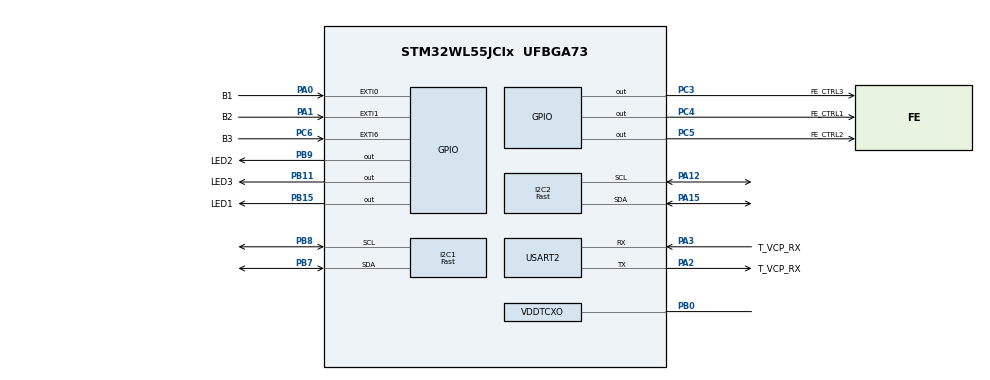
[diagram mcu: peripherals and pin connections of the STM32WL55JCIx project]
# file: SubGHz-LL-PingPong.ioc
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I2C1.I2C_Speed_Mode=I2C_Fast
I2C1.Timing=0x2010091A
I2C2.I2C_Speed_Mode=I2C_Fast
I2C2.Timing=0x2010091A
Mcu.Family=STM32WL
Mcu.Name=STM32WL55JCIx
Mcu.Package=UFBGA73
NVIC.PriorityGroup=NVIC_PRIORITYGROUP_4
NVIC.SUBGHZ_Radio_IRQn=true\:0\:0\:false\:false\:true\:true\:true\:true
OSC_IN.Mode=HSE-TCXO
OSC_IN.Signal=RCC_OSC_IN
PA0.GPIO_Label=B1
PA0.GPIO_ModeDefaultEXTI=GPIO_MODE_IT_FALLING
PA0.GPIO_PuPd=GPIO_PULLUP
PA0.Signal=GPXTI0
PA1.GPIO_Label=B2
PA1.GPIO_ModeDefaultEXTI=GPIO_MODE_IT_FALLING
PA1.GPIO_PuPd=GPIO_PULLUP
PA1.Signal=GPXTI1
PA12.Mode=I2C
PA12.Signal=I2C2_SCL
PA13.Mode=Serial_Wire
PA13.Signal=DEBUG_JTMS-SWDIO
PA14.Mode=Serial_Wire
PA14.Signal=DEBUG_JTCK-SWCLK
PA15.Mode=I2C
PA15.Signal=I2C2_SDA
PA2.GPIO_Label=T_VCP_RX
PA2.Mode=Asynchronous
PA2.Signal=USART2_TX
PA3.GPIO_Label=T_VCP_RX
PA3.Mode=Asynchronous
PA3.Signal=USART2_RX
PB0-VDD_TCXO.Mode=HSE-TCXO
PB0-VDD_TCXO.Signal=VDDTCXO
PB11.GPIO_Label=LED3
PB11.GPIO_Speed=GPIO_SPEED_FREQ_HIGH
PB11.Signal=GPIO_Output
PB15.GPIO_Label=LED1
PB15.GPIO_Speed=GPIO_SPEED_FREQ_HIGH
PB15.Signal=GPIO_Output
PB7.Mode=I2C
PB7.Signal=I2C1_SDA
PB8.Mode=I2C
PB8.Signal=I2C1_SCL
PB9.GPIO_FM9=__NULL
PB9.GPIO_Label=LED2
PB9.GPIO_Speed=GPIO_SPEED_FREQ_HIGH
PB9.Signal=GPIO_Output
PC14-OSC32_IN.Mode=LSE-External-Oscillator
PC14-OSC32_IN.Signal=RCC_OSC32_IN
PC15-OSC32_OUT.Mode=LSE-External-Oscillator
PC15-OSC32_OUT.Signal=RCC_OSC32_OUT
PC3.GPIO_Label=FE_CTRL3
PC3.GPIO_Speed=GPIO_SPEED_FREQ_VERY_HIGH
PC3.Signal=GPIO_Output
PC4.GPIO_Label=FE_CTRL1
PC4.GPIO_Speed=GPIO_SPEED_FREQ_VERY_HIGH
PC4.Signal=GPIO_Output
PC5.GPIO_Label=FE_CTRL2
PC5.GPIO_Speed=GPIO_SPEED_FREQ_VERY_HIGH
PC5.Signal=GPIO_Output
PC6.GPIO_Label=B3
PC6.GPIO_ModeDefaultEXTI=GPIO_MODE_IT_FALLING
PC6.GPIO_PuPd=GPIO_PULLUP
PC6.Signal=GPXTI6
ProjectManager.HeapSize=0x200
ProjectManager.StackSize=0x400
ProjectManager.TargetToolchain=STM32CubeIDE
RCC.AHBFreq_Value=48000000
RCC.APB1Freq_Value=48000000
RCC.APB1TimFreq_Value=48000000
RCC.APB2Freq_Value=48000000
RCC.APB2TimFreq_Value=48000000
RCC.APB3Freq_Value=48000000
RCC.CortexFreq_Value=48000000
RCC.HCLKFreq_Value=48000000
RCC.HSE_VALUE=32000000
RCC.HSI_VALUE=16000000
RCC.LSE_VALUE=32768
RCC.MSIClockRange=RCC_MSIRANGE_11
RCC.SYSCLKFreq_VALUE=48000000
RCC.VCOOutputFreq_Value=384000000
SUBGHZ.BaudratePrescaler=SUBGHZSPI_BAUDRATEPRESCALER_4
USART2.VirtualMode-Asynchronous=VM_ASYNC
VP_SUBGHZ_VS_SUBGHZ.Mode=SUBGHZ_Activate
board=NUCLEO-WL55JC1

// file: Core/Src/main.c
/* USER CODE BEGIN Header */

// References:
// https://forum.digikey.com/t/using-the-low-level-sub-ghz-radio-driver-for-the-stm32wl-series/18253
// https://github.com/eewiki/stm32wl_radioDriver_pingPong/tree/main

/**
  ******************************************************************************
  * @file           : main.c
  * @brief          : Main program body
  ******************************************************************************
  * @attention
  *
  * <h2><center>&copy; Copyright (c) 2021 STMicroelectronics.
  * All rights reserved.</center></h2>
  *
  * This software component is licensed by ST under BSD 3-Clause license,
  * the "License"; You may not use this file except in compliance with the
  * License. You may obtain a copy of the License at:
  *                        opensource.org/licenses/BSD-3-Clause
  *
  ******************************************************************************
  */
/* USER CODE END Header */
#include "main.h"
#include "i2c.h"
#include "subghz.h"
#include "usart.h"
#include "gpio.h"

/* USER CODE BEGIN Includes */
#include <string.h>
#include <stdio.h>
#include "radio_driver.h"
#include "stm32wlxx_nucleo.h"
/* USER CODE END Includes */

/* USER CODE BEGIN PTD */

typedef enum
{
  STATE_NULL,
  STATE_MASTER,
  STATE_SLAVE
} state_t;

typedef enum
{
  SSTATE_NULL,
  SSTATE_RX,
  SSTATE_TX
} substate_t;

typedef struct
{
  state_t state;
  substate_t subState;
  uint32_t rxTimeout;
  uint32_t rxMargin;
  uint32_t randomDelay;
  char rxBuffer[RX_BUFFER_SIZE];
  uint8_t rxSize;
} pingPongFSM_t;

/* USER CODE END PTD */

/* USER CODE BEGIN PM */
#define RF_FREQUENCY                                915000000	// 915 MHz
#define TX_OUTPUT_POWER                             14        	// dBm
#define LORA_BANDWIDTH                              2       	// Maps to const RadioLoRaBandwidths_t Bandwidths; 500 kHz
#define LORA_SPREADING_FACTOR                       11			// SF
#define LORA_CODINGRATE                             1			// 4/5
#define LORA_PREAMBLE_LENGTH                        8         	/* Same for Tx and Rx */
#define LORA_SYMBOL_TIMEOUT                         5         	/* Symbols */

/* USER CODE END PM */

/* USER CODE BEGIN PV */
void (*volatile eventReceptor)(pingPongFSM_t *const fsm);
PacketParams_t packetParams;  // TODO: this is lazy

const RadioLoRaBandwidths_t Bandwidths[] = { LORA_BW_125, LORA_BW_250, LORA_BW_500 };
/* USER CODE END PV */

void SystemClock_Config(void);
/* USER CODE BEGIN PFP */
void radioInit(void);
void RadioOnDioIrq(RadioIrqMasks_t radioIrq);
void eventTxDone(pingPongFSM_t *const fsm);
void eventRxDone(pingPongFSM_t *const fsm);
void eventTxTimeout(pingPongFSM_t *const fsm);
void eventRxTimeout(pingPongFSM_t *const fsm);
void eventRxError(pingPongFSM_t *const fsm);
void enterMasterRx(pingPongFSM_t *const fsm);
void enterSlaveRx(pingPongFSM_t *const fsm);
void enterMasterTx(pingPongFSM_t *const fsm);
void enterSlaveTx(pingPongFSM_t *const fsm);
void transitionRxDone(pingPongFSM_t *const fsm);
/* USER CODE END PFP */

int main(void)
{
  /* USER CODE BEGIN 1 */

  pingPongFSM_t fsm;
  char uartBuff[100];

  /* USER CODE END 1 */

  /* MCU Configuration--------------------------------------------------------*/

  /* Reset of all peripherals, Initializes the Flash interface and the Systick. */
  HAL_Init();

  /* Configure the system clock */
  SystemClock_Config();

  /* USER CODE BEGIN SysInit */

  /*** GPIO Configuration (for debugging) ***/
  /* DEBUG_SUBGHZSPI_NSSOUT = PA4
   * DEBUG_SUBGHZSPI_SCKOUT = PA5
   * DEBUG_SUBGHZSPI_MISOOUT = PA6
   * DEBUG_SUBGHZSPI_MOSIOUT = PA7
   * DEBUG_RF_HSE32RDY = PA10
   * DEBUG_RF_NRESET = PA11
   * DEBUG_RF_SMPSRDY = PB2
   * DEBUG_RF_DTB1 = PB3 <---- Conflicts with RF_IRQ0
   * DEBUG_RF_LDORDY = PB4
   * RF_BUSY = PA12
   * RF_IRQ0 = PB3
   * RF_IRQ1 = PB5
   * RF_IRQ2 = PB8
   */

  GPIO_InitTypeDef GPIO_InitStruct = {0};

  // Enable GPIO Clocks
  __HAL_RCC_GPIOA_CLK_ENABLE();
  __HAL_RCC_GPIOB_CLK_ENABLE();

  // DEBUG_SUBGHZSPI_{NSSOUT, SCKOUT, MSIOOUT, MOSIOUT} pins
  GPIO_InitStruct.Pin = GPIO_PIN_4 | GPIO_PIN_5 | GPIO_PIN_6 | GPIO_PIN_7;
  GPIO_InitStruct.Mode = GPIO_MODE_AF_PP;
  GPIO_InitStruct.Pull = GPIO_NOPULL;
  GPIO_InitStruct.Speed = GPIO_SPEED_FREQ_VERY_HIGH;
  GPIO_InitStruct.Alternate = GPIO_AF13_DEBUG_SUBGHZSPI;
  HAL_GPIO_Init(GPIOA, &GPIO_InitStruct);

  // DEBUG_RF_{HSE32RDY, NRESET} pins
  GPIO_InitStruct.Pin = GPIO_PIN_10 | GPIO_PIN_11;
  GPIO_InitStruct.Alternate = GPIO_AF13_DEBUG_RF;
  HAL_GPIO_Init(GPIOA, &GPIO_InitStruct);

  // DEBUG_RF_{SMPSRDY, LDORDY} pins
  GPIO_InitStruct.Pin = GPIO_PIN_2 | GPIO_PIN_4;
  HAL_GPIO_Init(GPIOB, &GPIO_InitStruct);

  // RF_BUSY pin
  GPIO_InitStruct.Pin = GPIO_PIN_12;
  GPIO_InitStruct.Alternate = GPIO_AF6_RF_BUSY;
  HAL_GPIO_Init(GPIOA, &GPIO_InitStruct);

  // RF_{IRQ0, IRQ1, IRQ2} pins
  GPIO_InitStruct.Pin = GPIO_PIN_3 | GPIO_PIN_5 | GPIO_PIN_8;
  HAL_GPIO_Init(GPIOB, &GPIO_InitStruct);

  /* USER CODE END SysInit */

  /* Initialize all configured peripherals */
  MX_GPIO_Init();
  MX_USART2_UART_Init();
  MX_SUBGHZ_Init();
  MX_I2C1_Init();
  MX_I2C2_Init();
  /* USER CODE BEGIN 2 */

  strcpy(uartBuff, "\n\rPING PONG\r\nAPP_VERSION=0.0.1\r\n---------------\r\n");
  HAL_UART_Transmit(&huart2, (uint8_t *)uartBuff, strlen(uartBuff), HAL_MAX_DELAY);
  sprintf(uartBuff, "LORA_MODULATION\r\nLORA_BW=%d Hz\r\nLORA_SF=%d\r\n", (1 << LORA_BANDWIDTH) * 125, LORA_SPREADING_FACTOR);
  HAL_UART_Transmit(&huart2, (uint8_t *)uartBuff, strlen(uartBuff), HAL_MAX_DELAY);
  radioInit();

  /* USER CODE END 2 */

  /* Infinite loop */
  /* USER CODE BEGIN WHILE */

  // get random number
  uint32_t rnd = 0;
  SUBGRF_SetDioIrqParams(IRQ_RADIO_NONE, IRQ_RADIO_NONE, IRQ_RADIO_NONE, IRQ_RADIO_NONE);
  rnd = SUBGRF_GetRandom();

  fsm.state = STATE_NULL;
  fsm.subState = SSTATE_NULL;
  fsm.rxTimeout = 3000; // 3000 ms
  fsm.rxMargin = 200;   // 200 ms
  fsm.randomDelay = rnd >> 22; // [0, 1023] ms
  sprintf(uartBuff, "rand=%lu\r\n", fsm.randomDelay);
  HAL_UART_Transmit(&huart2, (uint8_t *)uartBuff, strlen(uartBuff), HAL_MAX_DELAY);

  HAL_Delay(fsm.randomDelay);
  SUBGRF_SetDioIrqParams( IRQ_RX_DONE | IRQ_RX_TX_TIMEOUT | IRQ_CRC_ERROR,
                          IRQ_RX_DONE | IRQ_RX_TX_TIMEOUT | IRQ_CRC_ERROR,
                          IRQ_RADIO_NONE,
                          IRQ_RADIO_NONE );
  SUBGRF_SetSwitch(RFO_LP, RFSWITCH_RX);
  SUBGRF_SetRx(fsm.rxTimeout << 6);
  fsm.state = STATE_MASTER;
  fsm.subState = SSTATE_RX;

  while (1)
  {
    /* USER CODE END WHILE */

    /* USER CODE BEGIN 3 */

//    eventReceptor = NULL;
//    while (eventReceptor == NULL);
//    eventReceptor(&fsm);

	  if (eventReceptor != NULL)
	  {
		  BSP_LED_On(LED_GREEN);

		  eventReceptor(&fsm);
		  eventReceptor = NULL;

		  BSP_LED_Off(LED_GREEN);
	  }

    BSP_LED_Toggle(LED_BLUE);
    HAL_Delay(250);
  }
  /* USER CODE END 3 */
}

void SystemClock_Config(void)
{
  RCC_OscInitTypeDef RCC_OscInitStruct = {0};
  RCC_ClkInitTypeDef RCC_ClkInitStruct = {0};

  /** Configure LSE Drive Capability
  */
  HAL_PWR_EnableBkUpAccess();
  __HAL_RCC_LSEDRIVE_CONFIG(RCC_LSEDRIVE_LOW);

  /** Configure the main internal regulator output voltage
  */
  __HAL_PWR_VOLTAGESCALING_CONFIG(PWR_REGULATOR_VOLTAGE_SCALE1);

  /** Initializes the CPU, AHB and APB buses clocks
  */
  RCC_OscInitStruct.OscillatorType = RCC_OSCILLATORTYPE_LSE|RCC_OSCILLATORTYPE_MSI;
  RCC_OscInitStruct.LSEState = RCC_LSE_ON;
  RCC_OscInitStruct.MSIState = RCC_MSI_ON;
  RCC_OscInitStruct.MSICalibrationValue = RCC_MSICALIBRATION_DEFAULT;
  RCC_OscInitStruct.MSIClockRange = RCC_MSIRANGE_11;
  RCC_OscInitStruct.PLL.PLLState = RCC_PLL_NONE;
  if (HAL_RCC_OscConfig(&RCC_OscInitStruct) != HAL_OK)
  {
    Error_Handler();
  }

  /** Configure the SYSCLKSource, HCLK, PCLK1 and PCLK2 clocks dividers
  */
  RCC_ClkInitStruct.ClockType = RCC_CLOCKTYPE_HCLK3|RCC_CLOCKTYPE_HCLK
                              |RCC_CLOCKTYPE_SYSCLK|RCC_CLOCKTYPE_PCLK1
                              |RCC_CLOCKTYPE_PCLK2;
  RCC_ClkInitStruct.SYSCLKSource = RCC_SYSCLKSOURCE_MSI;
  RCC_ClkInitStruct.AHBCLKDivider = RCC_SYSCLK_DIV1;
  RCC_ClkInitStruct.APB1CLKDivider = RCC_HCLK_DIV1;
  RCC_ClkInitStruct.APB2CLKDivider = RCC_HCLK_DIV1;
  RCC_ClkInitStruct.AHBCLK3Divider = RCC_SYSCLK_DIV1;

  if (HAL_RCC_ClockConfig(&RCC_ClkInitStruct, FLASH_LATENCY_2) != HAL_OK)
  {
    Error_Handler();
  }
}

/* USER CODE BEGIN 4 */

/**
  * @brief  Initialize the Sub-GHz radio and dependent hardware.
  * @retval None
  */
void radioInit(void)
{
  // Initialize the hardware (SPI bus, TCXO control, RF switch)
  SUBGRF_Init(RadioOnDioIrq);

  // Use DCDC converter if `DCDC_ENABLE` is defined in radio_conf.h
  // "By default, the SMPS clock detection is disabled and must be enabled before enabling the SMPS." (6.1 in RM0453)
  SUBGRF_WriteRegister(SUBGHZ_SMPSC0R, (SUBGRF_ReadRegister(SUBGHZ_SMPSC0R) | SMPS_CLK_DET_ENABLE));
  SUBGRF_SetRegulatorMode();

  // Use the whole 256-byte buffer for both TX and RX
  SUBGRF_SetBufferBaseAddress(0x00, 0x00);

  SUBGRF_SetRfFrequency(RF_FREQUENCY);
  SUBGRF_SetRfTxPower(TX_OUTPUT_POWER);
  SUBGRF_SetStopRxTimerOnPreambleDetect(false);

  SUBGRF_SetPacketType(PACKET_TYPE_LORA);

  SUBGRF_WriteRegister( REG_LR_SYNCWORD, ( LORA_MAC_PRIVATE_SYNCWORD >> 8 ) & 0xFF );
  SUBGRF_WriteRegister( REG_LR_SYNCWORD + 1, LORA_MAC_PRIVATE_SYNCWORD & 0xFF );

  ModulationParams_t modulationParams;
  modulationParams.PacketType = PACKET_TYPE_LORA;
  modulationParams.Params.LoRa.Bandwidth = Bandwidths[LORA_BANDWIDTH];
  modulationParams.Params.LoRa.CodingRate = (RadioLoRaCodingRates_t)LORA_CODINGRATE;
  modulationParams.Params.LoRa.LowDatarateOptimize = 0x00;
  modulationParams.Params.LoRa.SpreadingFactor = (RadioLoRaSpreadingFactors_t)LORA_SPREADING_FACTOR;
  SUBGRF_SetModulationParams(&modulationParams);

  packetParams.PacketType = PACKET_TYPE_LORA;
  packetParams.Params.LoRa.CrcMode = LORA_CRC_ON;
  packetParams.Params.LoRa.HeaderType = LORA_PACKET_VARIABLE_LENGTH;
  packetParams.Params.LoRa.InvertIQ = LORA_IQ_NORMAL;
  packetParams.Params.LoRa.PayloadLength = 0xFF;
  packetParams.Params.LoRa.PreambleLength = LORA_PREAMBLE_LENGTH;
  SUBGRF_SetPacketParams(&packetParams);

  //SUBGRF_SetLoRaSymbNumTimeout(LORA_SYMBOL_TIMEOUT);

  // WORKAROUND - Optimizing the Inverted IQ Operation, see DS_SX1261-2_V1.2 datasheet chapter 15.4
  // RegIqPolaritySetup @address 0x0736
  SUBGRF_WriteRegister( 0x0736, SUBGRF_ReadRegister( 0x0736 ) | ( 1 << 2 ) );
}

/**
  * @brief  Receive data trough SUBGHZSPI peripheral
  * @param  radioIrq  interrupt pending status information
  * @retval None
  */
void RadioOnDioIrq(RadioIrqMasks_t radioIrq)
{
  switch (radioIrq)
  {
    case IRQ_TX_DONE:
      eventReceptor = eventTxDone;
      break;
    case IRQ_RX_DONE:
      eventReceptor = eventRxDone;
      break;
    case IRQ_RX_TX_TIMEOUT:
      if (SUBGRF_GetOperatingMode() == MODE_TX)
      {
        eventReceptor = eventTxTimeout;
      }
      else if (SUBGRF_GetOperatingMode() == MODE_RX)
      {
        eventReceptor = eventRxTimeout;
      }
      break;
    case IRQ_CRC_ERROR:
      eventReceptor = eventRxError;
      break;
    default:
      break;
  }
}

/**
  * @brief  Process the TX Done event
  * @param  fsm pointer to FSM context
  * @retval None
  */
void eventTxDone(pingPongFSM_t *const fsm)
{
  HAL_UART_Transmit(&huart2, (uint8_t *)"Event TX Done\r\n", 15, HAL_MAX_DELAY);
  switch (fsm->state)
  {
    case STATE_MASTER:
      switch (fsm->subState)
      {
        case SSTATE_TX:
          enterMasterRx(fsm);
          fsm->subState = SSTATE_RX;
          break;
        default:
          break;
      }
      break;
    case STATE_SLAVE:
      switch (fsm->subState)
      {
        case SSTATE_TX:
          enterSlaveRx(fsm);
          fsm->subState = SSTATE_RX;
          break;
        default:
          break;
      }
      break;
    default:
      break;
  }
}

/**
  * @brief  Process the RX Done event
  * @param  fsm pointer to FSM context
  * @retval None
  */
void eventRxDone(pingPongFSM_t *const fsm)
{
  HAL_UART_Transmit(&huart2, (uint8_t *)"Event RX Done\r\n", 15, HAL_MAX_DELAY);
  HAL_UART_Transmit(&huart2, (uint8_t *)"RX Buffer: ", 11, HAL_MAX_DELAY);
  HAL_UART_Transmit(&huart2, (uint8_t *)fsm->rxBuffer, strlen((char *)fsm->rxBuffer), HAL_MAX_DELAY);
  HAL_UART_Transmit(&huart2, (uint8_t *)"\r\n", 2, HAL_MAX_DELAY);
  switch(fsm->state)
  {
    case STATE_MASTER:
      switch (fsm->subState)
      {
        case SSTATE_RX:
          transitionRxDone(fsm);
          if (strncmp(fsm->rxBuffer, "PONG", 4) == 0)
          {
            BSP_LED_Off(LED_GREEN);
            BSP_LED_Toggle(LED_RED);
            enterMasterTx(fsm);
            fsm->subState = SSTATE_TX;
          }
          else if (strncmp(fsm->rxBuffer, "PING", 4) == 0)
          {
            enterSlaveRx(fsm);
            fsm->state = STATE_SLAVE;
          }
          else
          {
        	  enterMasterRx(fsm);
          }
          break;
        default:
          break;
      }
      break;
    case STATE_SLAVE:
      switch (fsm->subState)
      {
        case SSTATE_RX:
          transitionRxDone(fsm);
          if (strncmp(fsm->rxBuffer, "PING", 4) == 0)
          {
            BSP_LED_Off(LED_RED);
            BSP_LED_Toggle(LED_GREEN);
            enterSlaveTx(fsm);
            fsm->subState = SSTATE_TX;
          }
          else
          {
            enterMasterRx(fsm);
            fsm->state = STATE_MASTER;
          }
          break;
        default:
          break;
      }
      break;
    default:
      break;
  }
}

/**
  * @brief  Process the TX Timeout event
  * @param  fsm pointer to FSM context
  * @retval None
  */
void eventTxTimeout(pingPongFSM_t *const fsm)
{
  HAL_UART_Transmit(&huart2, (uint8_t *)"Event TX Timeout\r\n", 18, HAL_MAX_DELAY);
  switch (fsm->state)
  {
    case STATE_MASTER:
      switch (fsm->subState)
      {
        case SSTATE_TX:
          enterMasterRx(fsm);
          fsm->subState = SSTATE_RX;
          break;
        default:
          break;
      }
      break;
    case STATE_SLAVE:
      switch (fsm->subState)
      {
        case SSTATE_TX:
          enterSlaveRx(fsm);
          fsm->subState = SSTATE_RX;
          break;
        default:
          break;
      }
      break;
    default:
      break;
  }
}

/**
  * @brief  Process the RX Timeout event
  * @param  fsm pointer to FSM context
  * @retval None
  */
void eventRxTimeout(pingPongFSM_t *const fsm)
{
  HAL_UART_Transmit(&huart2, (uint8_t *)"Event RX Timeout\r\n", 18, HAL_MAX_DELAY);

  BSP_LED_On(LED_RED);
  HAL_Delay(10);
  BSP_LED_Off(LED_RED);

  switch (fsm->state)
  {
    case STATE_MASTER:
      switch (fsm->subState)
      {
        case SSTATE_RX:
          HAL_Delay(fsm->randomDelay);
          enterMasterTx(fsm);
          fsm->subState = SSTATE_TX;
          break;
        default:
          break;
      }
      break;
    case STATE_SLAVE:
      switch (fsm->subState)
      {
        case SSTATE_RX:
          enterSlaveRx(fsm);
          break;
        default:
          break;
      }
      break;
    default:
      break;
  }
}

/**
  * @brief  Process the RX Error event
  * @param  fsm pointer to FSM context
  * @retval None
  */
void eventRxError(pingPongFSM_t *const fsm)
{
  HAL_UART_Transmit(&huart2, (uint8_t *)"Event Rx Error\r\n", 16, HAL_MAX_DELAY);
  switch (fsm->state)
  {
    case STATE_MASTER:
      switch (fsm->subState)
      {
        case SSTATE_RX:
          HAL_Delay(fsm->randomDelay);
          enterMasterTx(fsm);
          fsm->subState = SSTATE_TX;
          break;
        default:
          break;
      }
      break;
    case STATE_SLAVE:
      switch (fsm->subState)
      {
        case SSTATE_RX:
          enterSlaveRx(fsm);
          break;
        default:
          break;
      }
      break;
    default:
      break;
  }
}

/**
  * @brief  Entry actions for the RX sub-state of the Master state
  * @param  fsm pointer to FSM context
  * @retval None
  */
void enterMasterRx(pingPongFSM_t *const fsm)
{
  HAL_UART_Transmit(&huart2, (uint8_t *)"Master Rx start\r\n", 17, HAL_MAX_DELAY);
  SUBGRF_SetDioIrqParams( IRQ_RX_DONE | IRQ_RX_TX_TIMEOUT | IRQ_CRC_ERROR | IRQ_HEADER_ERROR,
                          IRQ_RX_DONE | IRQ_RX_TX_TIMEOUT | IRQ_CRC_ERROR | IRQ_HEADER_ERROR,
                          IRQ_RADIO_NONE,
                          IRQ_RADIO_NONE );
  SUBGRF_SetSwitch(RFO_LP, RFSWITCH_RX);
  packetParams.Params.LoRa.PayloadLength = 0xFF;
  SUBGRF_SetPacketParams(&packetParams);
  SUBGRF_SetRx(fsm->rxTimeout << 6);
}

/**
  * @brief  Entry actions for the RX sub-state of the Slave state
  * @param  fsm pointer to FSM context
  * @retval None
  */
void enterSlaveRx(pingPongFSM_t *const fsm)
{
  HAL_UART_Transmit(&huart2, (uint8_t *)"Slave Rx start\r\n", 16, HAL_MAX_DELAY);
  SUBGRF_SetDioIrqParams( IRQ_RX_DONE | IRQ_RX_TX_TIMEOUT | IRQ_CRC_ERROR | IRQ_HEADER_ERROR,
                          IRQ_RX_DONE | IRQ_RX_TX_TIMEOUT | IRQ_CRC_ERROR | IRQ_HEADER_ERROR,
                          IRQ_RADIO_NONE,
                          IRQ_RADIO_NONE );
  SUBGRF_SetSwitch(RFO_LP, RFSWITCH_RX);
  packetParams.Params.LoRa.PayloadLength = 0xFF;
  SUBGRF_SetPacketParams(&packetParams);
  SUBGRF_SetRx(fsm->rxTimeout << 6);
}

/**
  * @brief  Entry actions for the TX sub-state of the Master state
  * @param  fsm pointer to FSM context
  * @retval None
  */
void enterMasterTx(pingPongFSM_t *const fsm)
{
  HAL_Delay(fsm->rxMargin);

  HAL_UART_Transmit(&huart2, (uint8_t *)"...PING\r\n", 9, HAL_MAX_DELAY);
  HAL_UART_Transmit(&huart2, (uint8_t *)"Master Tx start\r\n", 17, HAL_MAX_DELAY);
  SUBGRF_SetDioIrqParams( IRQ_TX_DONE | IRQ_RX_TX_TIMEOUT,
                          IRQ_TX_DONE | IRQ_RX_TX_TIMEOUT,
                          IRQ_RADIO_NONE,
                          IRQ_RADIO_NONE );
  SUBGRF_SetSwitch(RFO_LP, RFSWITCH_TX);
  // Workaround 5.1 in DS.SX1261-2.W.APP (before each packet transmission)
  SUBGRF_WriteRegister(0x0889, (SUBGRF_ReadRegister(0x0889) | 0x04));
  packetParams.Params.LoRa.PayloadLength = 0x4;
  SUBGRF_SetPacketParams(&packetParams);
  SUBGRF_SendPayload((uint8_t *)"PING", 4, 0);
}

/**
  * @brief  Entry actions for the TX sub-state of the Slave state
  * @param  fsm pointer to FSM context
  * @retval None
  */
void enterSlaveTx(pingPongFSM_t *const fsm)
{
  HAL_Delay(fsm->rxMargin);

  HAL_UART_Transmit(&huart2, (uint8_t *)"...PONG\r\n", 9, HAL_MAX_DELAY);
  HAL_UART_Transmit(&huart2, (uint8_t *)"Slave Tx start\r\n", 16, HAL_MAX_DELAY);
  SUBGRF_SetDioIrqParams( IRQ_TX_DONE | IRQ_RX_TX_TIMEOUT,
                          IRQ_TX_DONE | IRQ_RX_TX_TIMEOUT,
                          IRQ_RADIO_NONE,
                          IRQ_RADIO_NONE );
  SUBGRF_SetSwitch(RFO_LP, RFSWITCH_TX);
  // Workaround 5.1 in DS.SX1261-2.W.APP (before each packet transmission)
  SUBGRF_WriteRegister(0x0889, (SUBGRF_ReadRegister(0x0889) | 0x04));
  packetParams.Params.LoRa.PayloadLength = 0x4;
  SUBGRF_SetPacketParams(&packetParams);
  SUBGRF_SendPayload((uint8_t *)"PONG", 4, 0);
}

/**
  * @brief  Transition actions executed on every RX Done event (helper function)
  * @param  fsm pointer to FSM context
  * @retval None
  */
void transitionRxDone(pingPongFSM_t *const fsm)
{
  PacketStatus_t packetStatus;
  char uartBuff[50];

  // Workaround 15.3 in DS.SX1261-2.W.APP (because following RX w/ timeout sequence)
  SUBGRF_WriteRegister(0x0920, 0x00);
  SUBGRF_WriteRegister(0x0944, (SUBGRF_ReadRegister(0x0944) | 0x02));

  SUBGRF_GetPayload((uint8_t *)fsm->rxBuffer, &fsm->rxSize, 0xFF);
  SUBGRF_GetPacketStatus(&packetStatus);

  sprintf(uartBuff, "RssiValue=%d dBm, SnrValue=%d Hz\r\n", packetStatus.Params.LoRa.RssiPkt, packetStatus.Params.LoRa.SnrPkt);
  HAL_UART_Transmit(&huart2, (uint8_t *)uartBuff, strlen(uartBuff), HAL_MAX_DELAY);
}

/* USER CODE END 4 */

void Error_Handler(void)
{
  __disable_irq();
  while (1)
  {
  }
}
